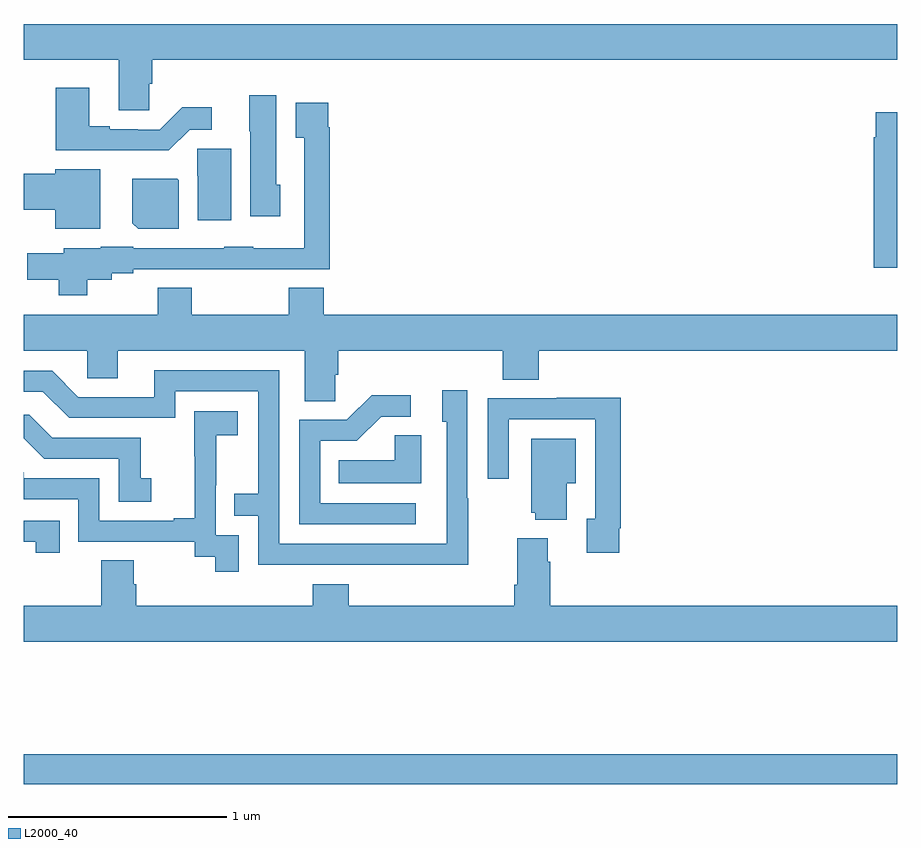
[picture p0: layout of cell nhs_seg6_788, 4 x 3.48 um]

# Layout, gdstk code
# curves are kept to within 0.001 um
import gdstk
lib = gdstk.Library(unit=1e-6, precision=1e-09)
def R(c, l, rs):  # rectangles x0, y0, x1, y1
    for r in rs: c.add(gdstk.rectangle(r[:2], r[2:], *l))
def P(c, l, *ps):  # polygons
    for p in ps: c.add(gdstk.Polygon(p, *l))
L2000_40 = (2000, 40)

nhs_seg6_788 = lib.new_cell('nhs_seg6_788')
R(nhs_seg6_788, L2000_40, [(161,948.016,165,948.152)])
P(nhs_seg6_788, L2000_40, [(161.574,951.222),(161.588,951.222),(161.588,951.332),(165,951.332),(165,951.496),(161,951.496),(161,951.332),(161.435,951.332),(161.435,951.1),(161.574,951.1)],
  [(161.76,951.012),(161.86,951.012),(161.86,951.115),(161.725,951.115),(161.622,951.012),(161.522,951.012),(161.522,951.015),(161.395,951.015),(161.395,951.028),(161.299,951.028),(161.299,951.205),(161.147,951.205),(161.147,950.918),(161.665,950.918)],
  [(162.175,950.76),(162.157,950.76),(162.157,951.169),(162.032,951.169),(162.032,951.006),(162.038,951.006),(162.038,950.616),(162.175,950.616)],
  [(161.29,950.324),(161.404,950.324),(161.404,950.354),(161.502,950.354),(161.502,950.373),(161.919,950.373),(161.919,950.372),(162.151,950.372),(162.151,950.373),(162.401,950.373),(162.401,951.023),(162.394,951.023),(162.394,951.136),(162.245,951.136),(162.245,950.975),(162.285,950.975),(162.285,950.47),(162.051,950.47),(162.051,950.476),(161.919,950.476),(161.919,950.469),(161.502,950.469),(161.502,950.476),(161.352,950.476),(161.352,950.47),(161.184,950.47),(161.184,950.446),(161.016,950.446),(161.016,950.324),(161.161,950.324),(161.161,950.255),(161.29,950.255)],
  [(165,951.091),(164.901,951.091),(164.901,950.978),(164.893,950.978),(164.893,950.381),(165,950.381)],
  [(161.95,950.925),(161.794,950.925),(161.794,950.802),(161.798,950.802),(161.798,950.598),(161.95,950.598)],
  [(161.35,950.83),(161.144,950.83),(161.144,950.81),(161,950.81),(161,950.645),(161.144,950.645),(161.144,950.558),(161.35,950.558)],
  [(161.71,950.78),(161.702,950.788),(161.498,950.788),(161.498,950.584),(161.524,950.558),(161.71,950.558)],
  [(162.426,949.891),(162.44,949.891),(162.44,950),(163.193,950),(163.193,949.867),(163.358,949.867),(163.358,950),(165,950),(165,950.164),(162.374,950.164),(162.374,950.288),(162.214,950.288),(162.214,950.164),(161.769,950.164),(161.769,950.288),(161.614,950.288),(161.614,950.164),(161,950.164),(161,950),(161.292,950),(161.292,949.873),(161.431,949.873),(161.431,950),(162.287,950),(162.287,949.768),(162.426,949.768)],
  [(163.035,949.325),(163.032,949.325),(163.032,949.819),(162.917,949.819),(162.917,949.674),(162.936,949.674),(162.936,949.116),(162.171,949.116),(162.171,949.911),(161.597,949.911),(161.597,949.788),(161.25,949.788),(161.13,949.908),(161,949.908),(161,949.812),(161.088,949.812),(161.208,949.692),(161.694,949.692),(161.694,949.815),(162.075,949.815),(162.075,949.346),(161.965,949.346),(161.965,949.245),(162.075,949.245),(162.075,949.02),(163.035,949.019)],
  [(162.796,949.302),(162.357,949.302),(162.357,949.587),(162.526,949.587),(162.637,949.698),(162.772,949.698),(162.772,949.796),(162.593,949.796),(162.48,949.683),(162.261,949.683),(162.261,949.206),(162.796,949.206)],
  [(163.726,949.186),(163.733,949.186),(163.733,949.784),(163.441,949.784),(163.441,949.782),(163.125,949.782),(163.125,949.413),(163.221,949.413),(163.221,949.686),(163.617,949.686),(163.617,949.23),(163.577,949.23),(163.577,949.074),(163.726,949.074)],
  [(161.985,949.155),(161.88,949.155),(161.88,949.385),(161.882,949.385),(161.882,949.613),(161.98,949.613),(161.98,949.723),(161.782,949.723),(161.782,949.517),(161.783,949.517),(161.783,949.234),(161.687,949.234),(161.687,949.221),(161.346,949.221),(161.346,949.416),(161.001,949.416),(161.001,949.443),(161,949.443),(161,949.32),(161.25,949.32),(161.25,949.125),(161.784,949.125),(161.784,949.057),(161.877,949.057),(161.877,948.987),(161.985,948.987)],
  [(161.584,949.417),(161.535,949.417),(161.535,949.602),(161.131,949.602),(161.026,949.707),(161,949.707),(161,949.6),(161.094,949.506),(161.436,949.506),(161.436,949.308),(161.584,949.308)],
  [(162.82,949.613),(162.699,949.613),(162.699,949.498),(162.442,949.498),(162.442,949.394),(162.82,949.394)],
  [(163.486,949.394),(163.528,949.394),(163.528,949.597),(163.325,949.597),(163.325,949.257),(163.343,949.257),(163.343,949.226),(163.486,949.226)],
  [(161.165,949.221),(161,949.221),(161,949.125),(161.054,949.125),(161.054,949.074),(161.165,949.074)],
  [(165,948.832),(163.412,948.832),(163.412,949.034),(163.399,949.034),(163.399,949.141),(163.259,949.141),(163.259,948.928),(163.247,948.928),(163.247,948.832),(162.488,948.832),(162.488,948.931),(162.323,948.931),(162.323,948.832),(161.516,948.832),(161.516,948.93),(161.503,948.93),(161.503,949.04),(161.356,949.04),(161.356,948.832),(161,948.832),(161,948.668),(165,948.668)])

lib.write_gds('nhs_seg6_788.gds')
